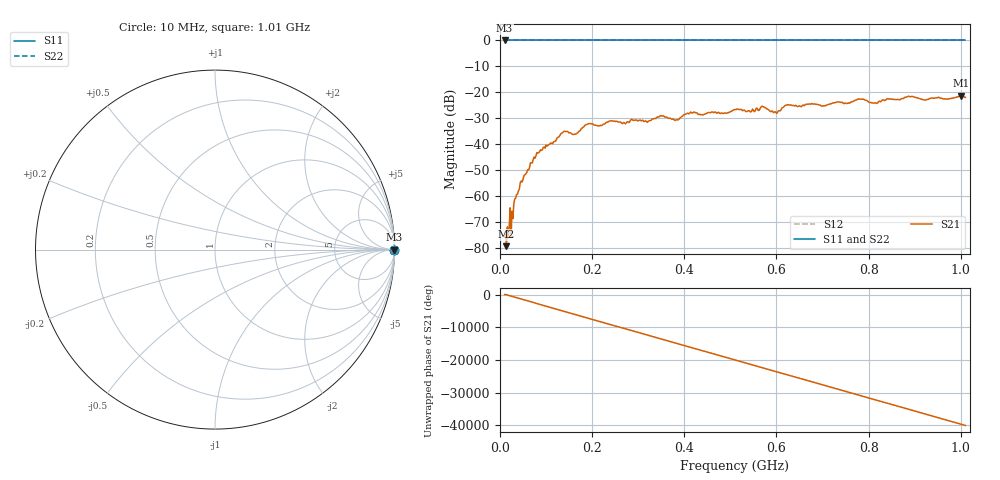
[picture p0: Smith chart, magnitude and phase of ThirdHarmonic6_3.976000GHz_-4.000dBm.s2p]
! 8/17/2025 2:08:58 PM
! C:\ANRITSUVNA\TEMP\TEMP.S2P
! CHANNEL.1
! TR.MEASUREMENT
! RAW.DATA
! RF.CORRECTION.OFF
! AVERAGING.OFF
! IF.BANDWIDTH: 5KHZ
! SWEEPTYPE:  FREQ.SWEEP(Linear)
! Reference Plane Port Info
! PORT:  PORT1  PORT2
! DISTANCE:  0  m  0  m
! TIME:  0  s  0  s
! PHASE.OFFSET:  0  deg.  0  deg.
! LOSS:  0  dB  0  dB
! REF.LOSS:  0  dB  0  dB
! REF.FREQ:  0  Hz  0  Hz
! Power Info
! POWER:  -20  dBm  -20  dBm
! EFF.POWER:  -20  dBm  -20  dBm
! SOURCE.ATTEN:  0  dB  0  dB
! TEST.ATTEN:  0  dB  0  dB
# GHZ S RI R 50.0
! FREQ.GHZ  S11RE  S11IM  S21RE  S21IM  S12RE  S12IM  S22RE  S22IM
!; PortSelection: Port_12
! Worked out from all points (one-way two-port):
!   501 points, 10 MHz to 1.01 GHz, reference 50 ohm
!   highest |S21| = -21.31 dB at 1 GHz (marker M1); lowest = -79.4 dB at 14 MHz (marker M2)
!   lowest |S11| = 0.0 dB at 10 MHz (marker M3)
!   |S11| at or under -10 dB: nowhere
!   |S22| runs from 0.0 to 0.0 dB; largest |S21 - S12| = 1.1
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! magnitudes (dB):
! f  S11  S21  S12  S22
! 10 MHz  0.0  -75.9  0.0  0.0
! 14 MHz  0.0  -79.4  0.0  0.0
! 28 MHz  0.0  -68.8  0.0  0.0
! 34 MHz  0.0  -60.8  0.0  0.0
! 42 MHz  0.0  -57.3  0.0  0.0
! 78 MHz  0.0  -44.5  0.0  0.0
! 136 MHz  0.0  -35.6  0.0  0.0
! 162 MHz  0.0  -36.1  0.0  0.0
! 178 MHz  0.0  -33.8  0.0  0.0
! 192 MHz  0.0  -32.2  0.0  0.0
! 318 MHz  0.0  -31.3  0.0  0.0
! 344 MHz  0.0  -29.6  0.0  0.0
! 384 MHz  0.0  -30.6  0.0  0.0
! 410 MHz  0.0  -28.3  0.0  0.0
! 510 MHz  0.0  -26.6  0.0  0.0
! 570 MHz  0.0  -25.4  0.0  0.0
! 598 MHz  0.0  -27.6  0.0  0.0
! 622 MHz  0.0  -24.9  0.0  0.0
! 678 MHz  0.0  -24.5  0.0  0.0
! 844 MHz  0.0  -22.6  0.0  0.0
! 1 GHz  0.0  -21.3  0.0  0.0
! 1.01 GHz  0.0  -22.0  0.0  0.0
